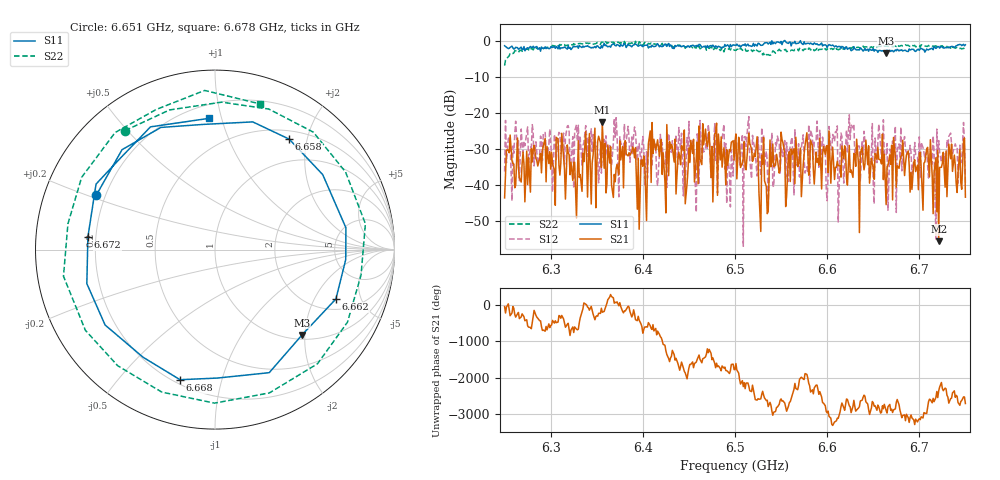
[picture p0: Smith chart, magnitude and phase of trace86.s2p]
# Hz S RI R 50
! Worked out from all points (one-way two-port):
!   401 points, 6.25 GHz to 6.75 GHz, reference 50 ohm
!   highest |S21| = -22.63 dB at 6.356 GHz (marker M1); lowest = -55.8 dB at 6.721 GHz (marker M2)
!   lowest |S11| = -3.4 dB at 6.664 GHz (marker M3), VSWR 5.23, Z = 54.9 - j96.9 ohm
!   |S11| at or under -10 dB: nowhere
!   |S22| runs from -6.8 to 0.0 dB; largest |S21 - S12| = 0.12
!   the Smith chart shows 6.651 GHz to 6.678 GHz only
!   S11 on the Smith chart (normalised r, x): 6.651 GHz: 0.16, +0.21; 6.658 GHz: 0.62, +1.70; 6.662 GHz: 2.59, -3.02; 6.668 GHz: 0.22, -0.74; 6.672 GHz: 0.17, +0.05; 6.678 GHz: 0.29, +0.91
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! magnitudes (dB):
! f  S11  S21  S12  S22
! 6.25 GHz  -1.2  -43.7  -36.3  -6.8
! 6.255 GHz  -2.0  -31.1  -26.6  -4.1
! 6.334 GHz  -1.7  -41.8  -34.5  -0.7
! 6.356 GHz  -1.8  -22.6  -30.7  -0.2
! 6.396 GHz  -1.2  -52.4  -28.5  -0.1
! 6.418 GHz  -1.6  -32.1  -31.3  -1.1
! 6.5 GHz  -1.1  -28.1  -29.9  -2.5
! 6.535 GHz  -0.4  -48.1  -33.5  -3.8
! 6.551 GHz  -0.9  -27.4  -30.4  -2.7
! 6.584 GHz  -0.8  -29.1  -26.6  -2.0
! 6.609 GHz  -1.3  -35.2  -25.2  -2.4
! 6.615 GHz  -2.0  -37.9  -25.6  -1.8
! 6.626 GHz  -2.6  -35.9  -23.2  -2.1
! 6.651 GHz  -2.8  -38.5  -45.3  -1.6
! 6.658 GHz  -2.6  -33.1  -29.2  -1.5
! 6.662 GHz  -2.8  -31.5  -31.9  -1.4
! 6.664 GHz  -3.4  -45.5  -32.0  -1.4
! 6.668 GHz  -2.5  -31.7  -30.1  -1.5
! 6.672 GHz  -3.0  -26.8  -33.1  -1.5
! 6.678 GHz  -2.7  -35.4  -28.6  -1.4
! 6.721 GHz  -1.5  -55.8  -27.7  -1.4
! 6.75 GHz  -1.0  -43.5  -39.5  -2.1
